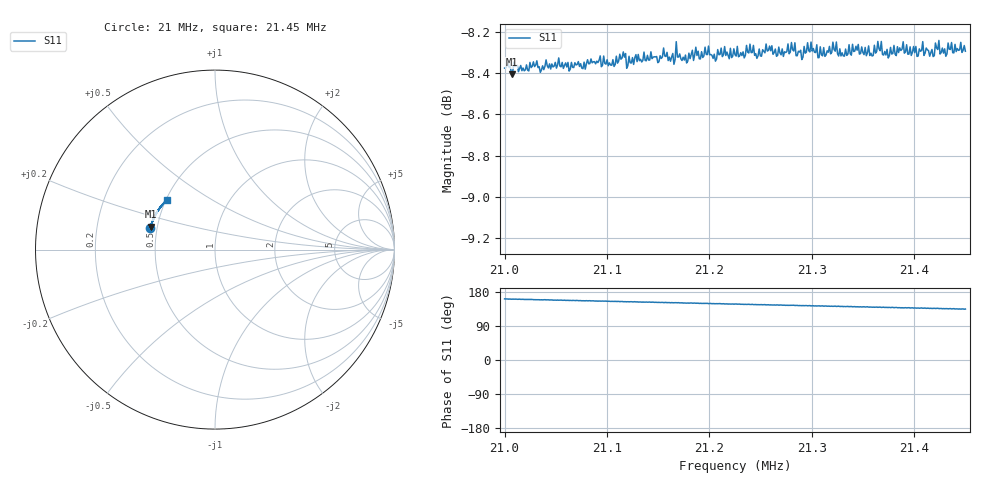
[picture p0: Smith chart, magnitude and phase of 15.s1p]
# Hz S RI R 50
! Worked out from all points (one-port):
!   401 points, 21 MHz to 21.45 MHz, reference 50 ohm
!   lowest |S11| = -8.4 dB at 21.007 MHz (marker M1), VSWR 2.23, Z = 23 + j6.86 ohm
!   |S11| at or under -10 dB: nowhere
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2.1e7  -0.3611 0.1225
2.100675e7  -0.3579 0.1276
2.105625e7  -0.3537 0.1457
2.11125e7  -0.3458 0.1676
2.1135e7  -0.3408 0.1746
2.114288e7  -0.341 0.1782
2.115412e7  -0.3389 0.1798
2.116875e7  -0.3356 0.1859
2.117662e7  -0.3339 0.1899
2.11845e7  -0.3314 0.1918
2.120475e7  -0.3282 0.1999
2.1225e7  -0.3246 0.2054
2.124862e7  -0.319 0.2163
2.128125e7  -0.3125 0.2253
2.128912e7  -0.3099 0.2287
2.1297e7  -0.3083 0.2306
2.130825e7  -0.3055 0.2357
2.13195e7  -0.3033 0.2366
2.13375e7  -0.2987 0.242
2.134538e7  -0.2971 0.247
2.135212e7  -0.2945 0.2491
2.136338e7  -0.2933 0.2492
2.138025e7  -0.2875 0.2578
2.138812e7  -0.2862 0.258
2.139375e7  -0.2843 0.2585
2.142188e7  -0.2784 0.2668
2.144438e7  -0.2713 0.2734
2.145e7  -0.2697 0.2746
